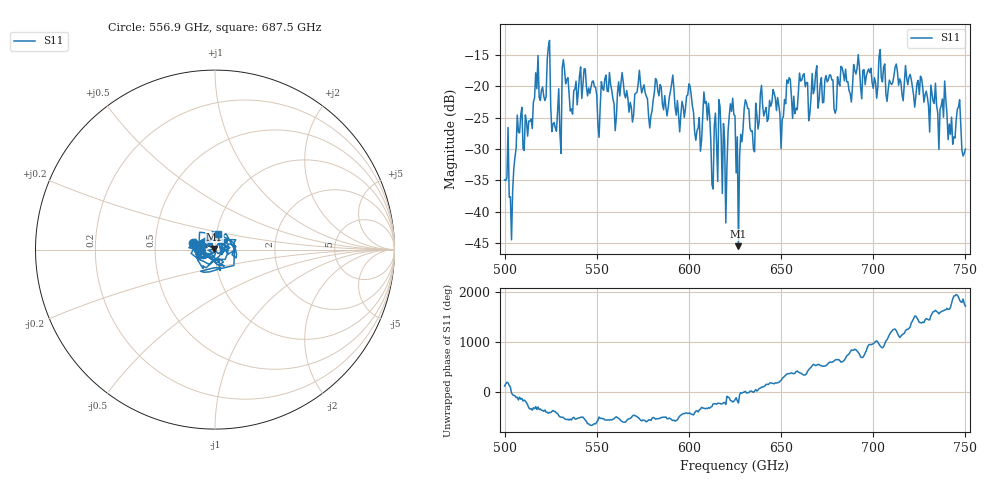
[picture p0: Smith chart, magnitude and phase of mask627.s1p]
!Created with skrf (http://scikit-rf.org).
# GHz S MA R 50.0
!freq magS11 angS11
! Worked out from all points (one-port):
!   401 points, 500 GHz to 750 GHz, reference 50 ohm
!   lowest |S11| = -45.5 dB at 626.9 GHz (marker M1), VSWR 1.01, Z = 49.6 + j0.324 ohm
!   |S11| at or under -10 dB: start of sweep to end of sweep
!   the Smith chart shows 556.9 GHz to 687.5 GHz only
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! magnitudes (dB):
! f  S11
! 500 GHz  -34.9
! 503.8 GHz  -44.5
! 508.1 GHz  -27.4
! 513.8 GHz  -25.5
! 516.9 GHz  -17.8
! 523.8 GHz  -13.7
! 526.9 GHz  -25.7
! 531.2 GHz  -17.0
! 562.5 GHz  -21.5
! 593.8 GHz  -22.3
! 600 GHz  -19.6
! 605.6 GHz  -25.0
! 609.4 GHz  -22.4
! 612.5 GHz  -35.6
! 617.5 GHz  -28.1
! 619.4 GHz  -28.6
! 622.5 GHz  -22.8
! 625 GHz  -24.7
! 626.9 GHz  -45.5
! 631.2 GHz  -22.6
! 634.4 GHz  -27.1
! 640 GHz  -23.1
! 656.2 GHz  -25.1
! 687.5 GHz  -21.1
! 718.8 GHz  -19.7
! 743.1 GHz  -29.2
! 746.2 GHz  -23.3
! 750 GHz  -30.0
